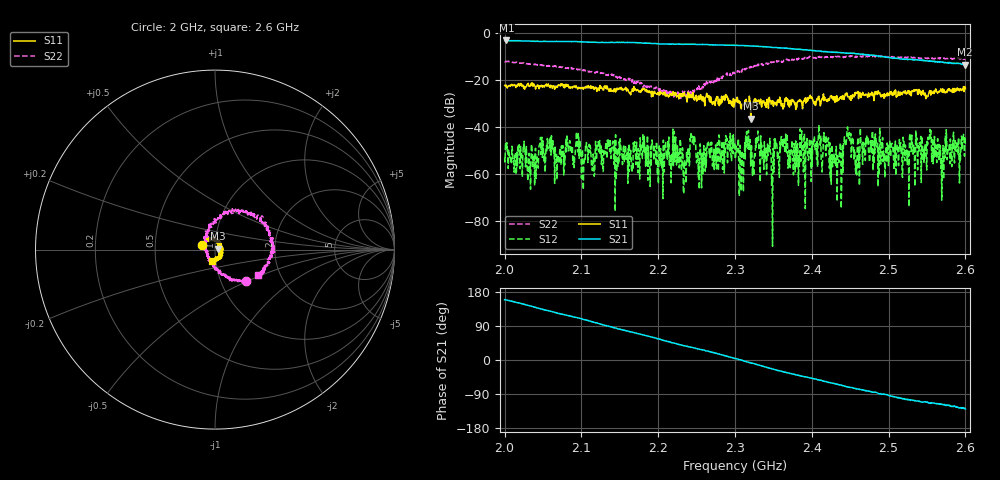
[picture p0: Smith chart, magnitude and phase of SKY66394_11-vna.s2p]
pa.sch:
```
<Qucs Schematic 0.0.20>
<Properties>
  <View=59,-80,1288,1131,0.493484,0,0>
  <Grid=10,10,1>
  <DataSet=pa.dat>
  <DataDisplay=pa.dpl>
  <OpenDisplay=1>
  <Script=pa.m>
  <RunScript=0>
  <showFrame=0>
  <FrameText0=Title>
  <FrameText1=Drawn By:>
  <FrameText2=Date:>
  <FrameText3=Revision:>
</Properties>
<Symbol>
</Symbol>
<Components>
  <GND *6 5 300 290 0 0 0 0>
  <Pac P3 1 180 220 18 -26 0 1 "3" 1 "50 Ohm" 1 "0 dBm" 0 "1000 MHz" 0 "26.85" 0>
  <Pac P4 1 400 220 18 -26 0 1 "4" 1 "50 Ohm" 1 "0 dBm" 0 "1000 MHz" 0 "26.85" 0>
  <.SP SP1 1 140 410 0 68 0 0 "log" 1 "2000 MHz" 1 "2600 MHz" 1 "1000" 1 "no" 0 "1" 0 "2" 0 "no" 0 "no" 0>
  <Eqn Eqn1 1 360 430 -28 15 0 0 "S33_dB=dB(S[3,3])" 1 "S43_dB=dB(S[4,3])+40" 1 "S34_dB=dB(S[3,4])" 1 "S44_dB=dB(S[4,4])" 1 "yes" 0>
  <SPfile PA 1 300 160 -26 -38 0 0 "SKY66394_11-vna.s2p" 0 "rectangular" 0 "linear" 0 "open" 0 "2" 0>
</Components>
<Wires>
  <400 250 400 290 "" 0 0 0 "">
  <300 290 400 290 "" 0 0 0 "">
  <180 290 300 290 "" 0 0 0 "">
  <180 250 180 290 "" 0 0 0 "">
  <300 190 300 290 "" 0 0 0 "">
  <400 160 400 190 "" 0 0 0 "">
  <330 160 400 160 "" 0 0 0 "">
  <180 160 180 190 "" 0 0 0 "">
  <180 160 270 160 "" 0 0 0 "">
</Wires>
<Diagrams>
  <Rect 600 421 641 401 3 #c0c0c0 1 00 1 2e+09 5e+07 2.6e+09 1 -37.6739 5 -6.96047 1 -1 0.2 1 315 0 225 "" "" "" "">
	<"S33_dB" #0055ff 2 3 0 0 0>
	<"S44_dB" #ff0000 2 3 0 0 0>
  </Rect>
  <Rect 130 905 684 305 3 #c0c0c0 1 00 1 0 0.2 1 1 -0.1 0.5 1.1 1 -0.1 0.5 1.1 315 0 225 "" "" "" "">
	<"S43_dB" #0000ff 2 3 0 0 0>
  </Rect>
  <Smith 880 934 344 344 3 #c0c0c0 1 00 1 0 1 1 1 0 4 1 1 0 1 1 315 0 225 "" "" "" "">
	<"S[3,3]" #0000ff 0 3 0 0 0>
	<"S[4,4]" #ff0000 0 3 0 0 0>
  </Smith>
</Diagrams>
<Paintings>
</Paintings>
```
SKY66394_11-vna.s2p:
! created by azisi at Thu Oct 01 17:01:29 EEST 2020
! generated using vna/J Version 3.4.3
# Hz S DB R 50.0
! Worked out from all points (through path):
!   1014 points, 2 GHz to 2.6 GHz, reference 50 ohm
!   highest |S21| = -3.05 dB at 2.002 GHz (marker M1); lowest = -13.4 dB at 2.599 GHz (marker M2)
!   lowest |S11| = -36.3 dB at 2.32 GHz (marker M3), VSWR 1.03, Z = 51.4 + j0.548 ohm
!   |S11| at or under -10 dB: start of sweep to end of sweep
!   |S22| runs from -28.2 to -9.5 dB; largest |S21 - S12| = 0.71
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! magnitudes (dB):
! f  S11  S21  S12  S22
! 2 GHz  -22.2  -3.1  -53.0  -12.1
! 2.002 GHz  -22.8  -3.1  -49.4  -12.1
! 2.227 GHz  -27.9  -4.6  -50.7  -26.9
! 2.3 GHz  -28.2  -5.1  -53.5  -17.1
! 2.308 GHz  -32.1  -5.2  -67.2  -15.9
! 2.32 GHz  -36.3  -5.4  -56.5  -14.1
! 2.436 GHz  -27.8  -8.2  -51.3  -9.9
! 2.553 GHz  -24.5  -11.7  -44.5  -10.4
! 2.57 GHz  -23.6  -12.2  -56.6  -10.6
! 2.599 GHz  -22.8  -13.4  -43.9  -11.1
! 2.6 GHz  -23.7  -13.3  -47.2  -11.1
